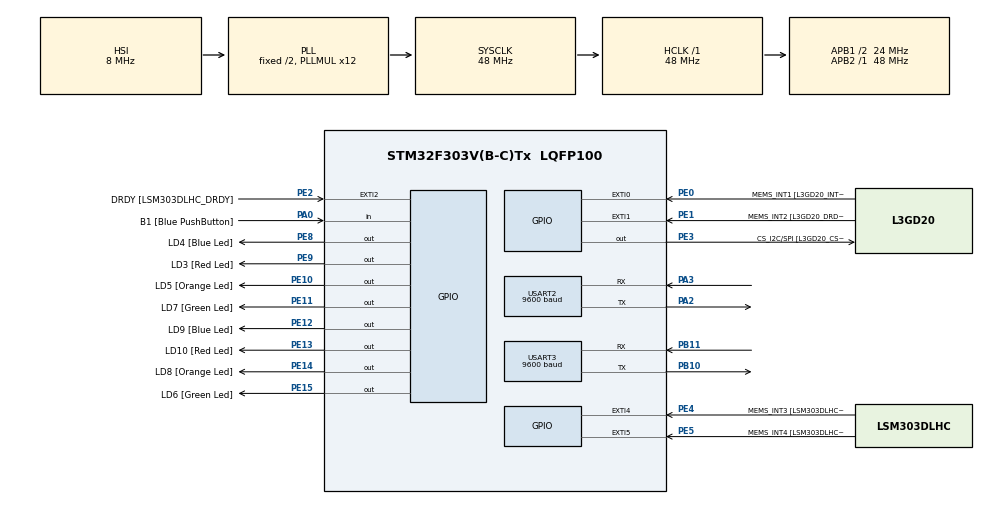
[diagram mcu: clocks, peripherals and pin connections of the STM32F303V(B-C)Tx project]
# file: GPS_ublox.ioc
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Mcu.Family=STM32F3
Mcu.Name=STM32F303V(B-C)Tx
Mcu.Package=LQFP100
NVIC.PriorityGroup=NVIC_PRIORITYGROUP_4
NVIC.TIM6_DAC_IRQn=true\:15\:0\:false\:false\:true\:false\:true\:true
NVIC.TimeBase=TIM6_DAC_IRQn
NVIC.TimeBaseIP=TIM6
NVIC.USART2_IRQn=true\:5\:0\:true\:false\:true\:true\:true\:true
NVIC.USART3_IRQn=true\:5\:0\:true\:false\:true\:true\:true\:true
PA0.GPIO_Label=B1 [Blue PushButton]
PA0.GPIO_Mode=GPIO_MODE_INPUT
PA0.GPIO_PuPd=GPIO_NOPULL
PA0.Signal=GPIO_Input
PA11.GPIO_Label=DM
PA11.Signal=USB_DM
PA12.GPIO_Label=DP
PA12.Signal=USB_DP
PA13.GPIO_Label=SWDIO
PA13.Signal=SYS_JTMS-SWDIO
PA14.GPIO_Label=SWCLK
PA14.Signal=SYS_JTCK-SWCLK
PA2.Mode=Asynchronous
PA2.Signal=USART2_TX
PA3.Mode=Asynchronous
PA3.Signal=USART2_RX
PA5.GPIO_Label=SPI1_SCK [L3GD20_SCL/SPC]
PA5.GPIO_Mode=GPIO_MODE_AF_PP
PA5.GPIO_PuPd=GPIO_NOPULL
PA5.GPIO_Speed=GPIO_SPEED_FREQ_LOW
PA5.Signal=SPI1_SCK
PA6.GPIO_Label=SPI1_MISO [L3GD20_SA0/SDO]
PA6.GPIO_Mode=GPIO_MODE_AF_PP
PA6.GPIO_PuPd=GPIO_NOPULL
PA6.GPIO_Speed=GPIO_SPEED_FREQ_LOW
PA6.Signal=SPI1_MISO
PA7.GPIO_Label=SPI1_MISO [L3GD20_SDA/SDI/SDO]
PA7.GPIO_Mode=GPIO_MODE_AF_PP
PA7.GPIO_PuPd=GPIO_NOPULL
PA7.GPIO_Speed=GPIO_SPEED_FREQ_LOW
PA7.Signal=SPI1_MOSI
PB10.Mode=Asynchronous
PB10.Signal=USART3_TX
PB11.Mode=Asynchronous
PB11.Signal=USART3_RX
PB3.GPIO_Label=SWO
PB3.Signal=SYS_JTDO-TRACESWO
PB6.GPIO_FM6=__NULL
PB6.GPIO_Label=I2C1_SCL [LSM303DLHC_SCL]
PB6.GPIO_Mode=GPIO_MODE_AF_OD
PB6.GPIO_PuPd=GPIO_NOPULL
PB6.GPIO_Speed=GPIO_SPEED_FREQ_LOW
PB6.Signal=I2C1_SCL
PB7.GPIO_FM7=__NULL
PB7.GPIO_Label=I2C1_SDA [LSM303DLHC_SDA]
PB7.GPIO_Mode=GPIO_MODE_AF_OD
PB7.GPIO_PuPd=GPIO_NOPULL
PB7.GPIO_Speed=GPIO_SPEED_FREQ_LOW
PB7.Signal=I2C1_SDA
PC14-OSC32_IN.GPIO_Label=OSC32_IN
PC14-OSC32_IN.Signal=RCC_OSC32_IN
PC15-OSC32_OUT.GPIO_Label=OSC32_OUT
PC15-OSC32_OUT.Signal=RCC_OSC32_OUT
PE0.GPIO_Label=MEMS_INT1 [L3GD20_INT1]
PE0.GPIO_ModeDefaultEXTI=GPIO_MODE_EVT_RISING
PE0.GPIO_PuPd=GPIO_NOPULL
PE0.Signal=GPXTI0
PE1.GPIO_Label=MEMS_INT2 [L3GD20_DRDY/INT2]
PE1.GPIO_ModeDefaultEXTI=GPIO_MODE_EVT_RISING
PE1.GPIO_PuPd=GPIO_NOPULL
PE1.Signal=GPXTI1
PE10.GPIO_Label=LD5 [Orange Led]
PE10.GPIO_ModeDefaultOutputPP=GPIO_MODE_OUTPUT_PP
PE10.GPIO_PuPd=GPIO_NOPULL
PE10.GPIO_Speed=GPIO_SPEED_FREQ_LOW
PE10.Signal=GPIO_Output
PE11.GPIO_Label=LD7 [Green Led]
PE11.GPIO_ModeDefaultOutputPP=GPIO_MODE_OUTPUT_PP
PE11.GPIO_PuPd=GPIO_NOPULL
PE11.GPIO_Speed=GPIO_SPEED_FREQ_LOW
PE11.Signal=GPIO_Output
PE12.GPIO_Label=LD9 [Blue Led]
PE12.GPIO_ModeDefaultOutputPP=GPIO_MODE_OUTPUT_PP
PE12.GPIO_PuPd=GPIO_NOPULL
PE12.GPIO_Speed=GPIO_SPEED_FREQ_LOW
PE12.Signal=GPIO_Output
PE13.GPIO_Label=LD10 [Red Led]
PE13.GPIO_ModeDefaultOutputPP=GPIO_MODE_OUTPUT_PP
PE13.GPIO_PuPd=GPIO_NOPULL
PE13.GPIO_Speed=GPIO_SPEED_FREQ_LOW
PE13.Signal=GPIO_Output
PE14.GPIO_Label=LD8 [Orange Led]
PE14.GPIO_ModeDefaultOutputPP=GPIO_MODE_OUTPUT_PP
PE14.GPIO_PuPd=GPIO_NOPULL
PE14.GPIO_Speed=GPIO_SPEED_FREQ_LOW
PE14.Signal=GPIO_Output
PE15.GPIO_Label=LD6 [Green Led]
PE15.GPIO_ModeDefaultOutputPP=GPIO_MODE_OUTPUT_PP
PE15.GPIO_PuPd=GPIO_NOPULL
PE15.GPIO_Speed=GPIO_SPEED_FREQ_LOW
PE15.Signal=GPIO_Output
PE2.GPIO_Label=DRDY [LSM303DLHC_DRDY]
PE2.GPIO_ModeDefaultEXTI=GPIO_MODE_EVT_RISING
PE2.GPIO_PuPd=GPIO_NOPULL
PE2.Signal=GPXTI2
PE3.GPIO_Label=CS_I2C/SPI [L3GD20_CS_I2C/SPI]
PE3.GPIO_ModeDefaultOutputPP=GPIO_MODE_OUTPUT_PP
PE3.GPIO_PuPd=GPIO_NOPULL
PE3.GPIO_Speed=GPIO_SPEED_FREQ_LOW
PE3.Signal=GPIO_Output
PE4.GPIO_Label=MEMS_INT3 [LSM303DLHC_INT1]
PE4.GPIO_ModeDefaultEXTI=GPIO_MODE_EVT_RISING
PE4.GPIO_PuPd=GPIO_NOPULL
PE4.Signal=GPXTI4
PE5.GPIO_Label=MEMS_INT4 [LSM303DLHC_INT2]
PE5.GPIO_ModeDefaultEXTI=GPIO_MODE_EVT_RISING
PE5.GPIO_PuPd=GPIO_NOPULL
PE5.Signal=GPXTI5
PE8.GPIO_Label=LD4 [Blue Led]
PE8.GPIO_ModeDefaultOutputPP=GPIO_MODE_OUTPUT_PP
PE8.GPIO_PuPd=GPIO_NOPULL
PE8.GPIO_Speed=GPIO_SPEED_FREQ_LOW
PE8.Signal=GPIO_Output
PE9.GPIO_Label=LD3 [Red Led]
PE9.GPIO_ModeDefaultOutputPP=GPIO_MODE_OUTPUT_PP
PE9.GPIO_PuPd=GPIO_NOPULL
PE9.GPIO_Speed=GPIO_SPEED_FREQ_LOW
PE9.Signal=GPIO_Output
PF0-OSC_IN.GPIO_Label=OSC_IN
PF0-OSC_IN.Signal=RCC_OSC_IN
PF1-OSC_OUT.GPIO_Label=OSC_OUT
PF1-OSC_OUT.Signal=RCC_OSC_OUT
ProjectManager.HeapSize=0x200
ProjectManager.StackSize=0x400
ProjectManager.TargetToolchain=STM32CubeIDE
RCC.AHBFreq_Value=48000000
RCC.APB1CLKDivider=RCC_HCLK_DIV2
RCC.APB1Freq_Value=24000000
RCC.APB1TimFreq_Value=48000000
RCC.APB2Freq_Value=48000000
RCC.APB2TimFreq_Value=48000000
RCC.CortexFreq_Value=48000000
RCC.HCLKFreq_Value=48000000
RCC.HSE_VALUE=8000000
RCC.HSI_VALUE=8000000
RCC.LSE_VALUE=32768
RCC.PLLMUL=RCC_PLL_MUL12
RCC.SYSCLKFreq_VALUE=48000000
RCC.SYSCLKSourceVirtual=RCC_SYSCLKSOURCE_PLLCLK
RCC.USBFreq_Value=48000000
USART2.BaudRate=9600
USART2.VirtualMode-Asynchronous=VM_ASYNC
USART3.BaudRate=9600
USART3.VirtualMode-Asynchronous=VM_ASYNC
VP_SYS_VS_tim6.Mode=TIM6
board=STM32F3DISCOVERY

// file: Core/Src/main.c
/* USER CODE BEGIN Header */
/**
  ******************************************************************************
  * @file           : main.c
  * @brief          : Main program body
  ******************************************************************************
  * @attention
  *
  * Copyright (c) 2023 STMicroelectronics.
  * All rights reserved.
  *
  * This software is licensed under terms that can be found in the LICENSE file
  * in the root directory of this software component.
  * If no LICENSE file comes with this software, it is provided AS-IS.
  *
  ******************************************************************************
  */
/* USER CODE END Header */
#include "main.h"

/* USER CODE BEGIN Includes */
#include"FreeRTOS.h"
#include "task.h"
#include "my_GPS.h"
#include "semphr.h"
#include "stdio.h"
/* USER CODE END Includes */

/* USER CODE BEGIN PD */

/*
 * UART2 is used for GPS module
 * 	PA2 - TX
 * 	PA3 - RX
 * UART3 is used for user
 *  PB10 - TX
 *  PB11 - RX
 *
 */
/*
 * DEFINE IF YOU WANT TO BRIDGE THESE TWO UARTS -- MOSTLY USED DURING CONFIGURATION GPS RECEIVER
 */
//#define UART23_bridge
/*
 * DEFINE YOUR TIMEZONE HERE, IF NOT IT WILL PRINT UTC TIME
 */
#define TIME_ZONE 1
#define USE_SEGGER

#ifdef USE_SEGGER
	#define DWT_CTRL		(*(volatile uint32_t *) 0xE0001000)
#endif

/* USER CODE END PD */

UART_HandleTypeDef huart2;
UART_HandleTypeDef huart3;

/* USER CODE BEGIN PV */
TaskHandle_t MSG_check_task;
TaskHandle_t UART3_task;

uint8_t UART_2_buffor [10];
uint8_t UART_3_buffor [10];

uint8_t rec_buff[500];

volatile GPS_Position_Data_t position;

xSemaphoreHandle xUART_3;
xSemaphoreHandle xUART_2;

char send_text [200];

/* USER CODE END PV */

void SystemClock_Config(void);
static void MX_GPIO_Init(void);
static void MX_USART2_UART_Init(void);
static void MX_USART3_UART_Init(void);
/* USER CODE BEGIN PFP */
void printmsg(char *msg);

void MSG_check_handler(void * pvParameters);
void UART_3_handler(void * pvParameters);

/* USER CODE END PFP */

int main(void)
{
  /* USER CODE BEGIN 1 */
	BaseType_t Status;
  /* USER CODE END 1 */

  /* MCU Configuration--------------------------------------------------------*/

  /* Reset of all peripherals, Initializes the Flash interface and the Systick. */
  HAL_Init();

  /* USER CODE BEGIN Init */

#if defined(USE_SEGGER)
		  DWT_CTRL |= (1 << 0);

		  SEGGER_SYSVIEW_Conf();

		  SEGGER_SYSVIEW_Start();
#endif

  Status = xTaskCreate(MSG_check_handler , "MSG_check_task" , 200, "MSG checking", 1, &MSG_check_task);
  configASSERT(Status == pdPASS);

  Status = xTaskCreate(UART_3_handler , "UART3_task" , 200, "UART3 task running", 1, &UART3_task);
  configASSERT(Status == pdPASS);

  xUART_3 = xSemaphoreCreateMutex();
  xUART_2 = xSemaphoreCreateMutex();

  /* USER CODE END Init */

  /* Configure the system clock */
  SystemClock_Config();

  /* Initialize all configured peripherals */
  MX_GPIO_Init();
  MX_USART2_UART_Init();
  MX_USART3_UART_Init();
  /* USER CODE BEGIN 2 */

  sprintf(send_text, "\n###############################\n#                             #\n"\
		  "#      Program is running     #\n#   Waiting for GSP data...   #\n"\
		  "#                             #\n###############################\n\n");

  //send welcome text
  printmsg(send_text);

  HAL_UART_Receive_IT(&huart2, UART_2_buffor, 1);
  HAL_UART_Receive_IT(&huart3, UART_3_buffor, 1);

  vTaskStartScheduler();

  /* USER CODE END 2 */

  /* Infinite loop */
  while (1)
  {

  }
}

void SystemClock_Config(void)
{
  RCC_OscInitTypeDef RCC_OscInitStruct = {0};
  RCC_ClkInitTypeDef RCC_ClkInitStruct = {0};
  RCC_PeriphCLKInitTypeDef PeriphClkInit = {0};

  /** Initializes the RCC Oscillators according to the specified parameters
  * in the RCC_OscInitTypeDef structure.
  */
  RCC_OscInitStruct.OscillatorType = RCC_OSCILLATORTYPE_HSI;
  RCC_OscInitStruct.HSIState = RCC_HSI_ON;
  RCC_OscInitStruct.HSICalibrationValue = RCC_HSICALIBRATION_DEFAULT;
  RCC_OscInitStruct.PLL.PLLState = RCC_PLL_ON;
  RCC_OscInitStruct.PLL.PLLSource = RCC_PLLSOURCE_HSI;
  RCC_OscInitStruct.PLL.PLLMUL = RCC_PLL_MUL12;
  if (HAL_RCC_OscConfig(&RCC_OscInitStruct) != HAL_OK)
  {
    Error_Handler();
  }

  /** Initializes the CPU, AHB and APB buses clocks
  */
  RCC_ClkInitStruct.ClockType = RCC_CLOCKTYPE_HCLK|RCC_CLOCKTYPE_SYSCLK
                              |RCC_CLOCKTYPE_PCLK1|RCC_CLOCKTYPE_PCLK2;
  RCC_ClkInitStruct.SYSCLKSource = RCC_SYSCLKSOURCE_PLLCLK;
  RCC_ClkInitStruct.AHBCLKDivider = RCC_SYSCLK_DIV1;
  RCC_ClkInitStruct.APB1CLKDivider = RCC_HCLK_DIV2;
  RCC_ClkInitStruct.APB2CLKDivider = RCC_HCLK_DIV1;

  if (HAL_RCC_ClockConfig(&RCC_ClkInitStruct, FLASH_LATENCY_1) != HAL_OK)
  {
    Error_Handler();
  }
  PeriphClkInit.PeriphClockSelection = RCC_PERIPHCLK_USART2|RCC_PERIPHCLK_USART3;
  PeriphClkInit.Usart2ClockSelection = RCC_USART2CLKSOURCE_PCLK1;
  PeriphClkInit.Usart3ClockSelection = RCC_USART3CLKSOURCE_PCLK1;
  if (HAL_RCCEx_PeriphCLKConfig(&PeriphClkInit) != HAL_OK)
  {
    Error_Handler();
  }
}

static void MX_USART2_UART_Init(void)
{

  huart2.Instance = USART2;
  huart2.Init.BaudRate = 9600;
  huart2.Init.WordLength = UART_WORDLENGTH_8B;
  huart2.Init.StopBits = UART_STOPBITS_1;
  huart2.Init.Parity = UART_PARITY_NONE;
  huart2.Init.Mode = UART_MODE_TX_RX;
  huart2.Init.HwFlowCtl = UART_HWCONTROL_NONE;
  huart2.Init.OverSampling = UART_OVERSAMPLING_16;
  huart2.Init.OneBitSampling = UART_ONE_BIT_SAMPLE_DISABLE;
  huart2.AdvancedInit.AdvFeatureInit = UART_ADVFEATURE_NO_INIT;
  if (HAL_UART_Init(&huart2) != HAL_OK)
  {
    Error_Handler();
  }

}

static void MX_USART3_UART_Init(void)
{

  huart3.Instance = USART3;
  huart3.Init.BaudRate = 9600;
  huart3.Init.WordLength = UART_WORDLENGTH_8B;
  huart3.Init.StopBits = UART_STOPBITS_1;
  huart3.Init.Parity = UART_PARITY_NONE;
  huart3.Init.Mode = UART_MODE_TX_RX;
  huart3.Init.HwFlowCtl = UART_HWCONTROL_NONE;
  huart3.Init.OverSampling = UART_OVERSAMPLING_16;
  huart3.Init.OneBitSampling = UART_ONE_BIT_SAMPLE_DISABLE;
  huart3.AdvancedInit.AdvFeatureInit = UART_ADVFEATURE_NO_INIT;
  if (HAL_UART_Init(&huart3) != HAL_OK)
  {
    Error_Handler();
  }

}

static void MX_GPIO_Init(void)
{
  GPIO_InitTypeDef GPIO_InitStruct = {0};

  /* GPIO Ports Clock Enable */
  __HAL_RCC_GPIOE_CLK_ENABLE();
  __HAL_RCC_GPIOC_CLK_ENABLE();
  __HAL_RCC_GPIOF_CLK_ENABLE();
  __HAL_RCC_GPIOA_CLK_ENABLE();
  __HAL_RCC_GPIOB_CLK_ENABLE();

  /*Configure GPIO pin Output Level */
  HAL_GPIO_WritePin(GPIOE, CS_I2C_SPI_Pin|LD4_Pin|LD3_Pin|LD5_Pin
                          |LD7_Pin|LD9_Pin|LD10_Pin|LD8_Pin
                          |LD6_Pin, GPIO_PIN_RESET);

  /*Configure GPIO pins : DRDY_Pin MEMS_INT3_Pin MEMS_INT4_Pin MEMS_INT1_Pin
                           MEMS_INT2_Pin */
  GPIO_InitStruct.Pin = DRDY_Pin|MEMS_INT3_Pin|MEMS_INT4_Pin|MEMS_INT1_Pin
                          |MEMS_INT2_Pin;
  GPIO_InitStruct.Mode = GPIO_MODE_EVT_RISING;
  GPIO_InitStruct.Pull = GPIO_NOPULL;
  HAL_GPIO_Init(GPIOE, &GPIO_InitStruct);

  /*Configure GPIO pins : CS_I2C_SPI_Pin LD4_Pin LD3_Pin LD5_Pin
                           LD7_Pin LD9_Pin LD10_Pin LD8_Pin
                           LD6_Pin */
  GPIO_InitStruct.Pin = CS_I2C_SPI_Pin|LD4_Pin|LD3_Pin|LD5_Pin
                          |LD7_Pin|LD9_Pin|LD10_Pin|LD8_Pin
                          |LD6_Pin;
  GPIO_InitStruct.Mode = GPIO_MODE_OUTPUT_PP;
  GPIO_InitStruct.Pull = GPIO_NOPULL;
  GPIO_InitStruct.Speed = GPIO_SPEED_FREQ_LOW;
  HAL_GPIO_Init(GPIOE, &GPIO_InitStruct);

  /*Configure GPIO pin : B1_Pin */
  GPIO_InitStruct.Pin = B1_Pin;
  GPIO_InitStruct.Mode = GPIO_MODE_INPUT;
  GPIO_InitStruct.Pull = GPIO_NOPULL;
  HAL_GPIO_Init(B1_GPIO_Port, &GPIO_InitStruct);

  /*Configure GPIO pins : SPI1_SCK_Pin SPI1_MISO_Pin SPI1_MISOA7_Pin */
  GPIO_InitStruct.Pin = SPI1_SCK_Pin|SPI1_MISO_Pin|SPI1_MISOA7_Pin;
  GPIO_InitStruct.Mode = GPIO_MODE_AF_PP;
  GPIO_InitStruct.Pull = GPIO_NOPULL;
  GPIO_InitStruct.Speed = GPIO_SPEED_FREQ_LOW;
  GPIO_InitStruct.Alternate = GPIO_AF5_SPI1;
  HAL_GPIO_Init(GPIOA, &GPIO_InitStruct);

  /*Configure GPIO pins : DM_Pin DP_Pin */
  GPIO_InitStruct.Pin = DM_Pin|DP_Pin;
  GPIO_InitStruct.Mode = GPIO_MODE_AF_PP;
  GPIO_InitStruct.Pull = GPIO_NOPULL;
  GPIO_InitStruct.Speed = GPIO_SPEED_FREQ_HIGH;
  GPIO_InitStruct.Alternate = GPIO_AF14_USB;
  HAL_GPIO_Init(GPIOA, &GPIO_InitStruct);

  /*Configure GPIO pins : I2C1_SCL_Pin I2C1_SDA_Pin */
  GPIO_InitStruct.Pin = I2C1_SCL_Pin|I2C1_SDA_Pin;
  GPIO_InitStruct.Mode = GPIO_MODE_AF_OD;
  GPIO_InitStruct.Pull = GPIO_NOPULL;
  GPIO_InitStruct.Speed = GPIO_SPEED_FREQ_LOW;
  GPIO_InitStruct.Alternate = GPIO_AF4_I2C1;
  HAL_GPIO_Init(GPIOB, &GPIO_InitStruct);

}

/* USER CODE BEGIN 4 */

void printmsg(char *msg){

		xSemaphoreTake(xUART_3, portMAX_DELAY);

		while ( __HAL_UART_GET_FLAG(&huart3, UART_FLAG_TXE) != SET);

		HAL_UART_Transmit(&huart3, (uint8_t*)msg, strlen(msg), HAL_MAX_DELAY);

		while ( __HAL_UART_GET_FLAG(&huart3, UART_FLAG_TC) != SET);

		xSemaphoreGive(xUART_3);

}

void MSG_check_handler(void * pvParameters)
{
	uint8_t buffor_size = 0;
	while(1)
	{
		//wait for notify from UART receiver
		xTaskNotifyWait(0, 0, (uint32_t *)&buffor_size, portMAX_DELAY);

		//checks if pending message is position info
		position = GPS_get_position(rec_buff, buffor_size);
		if(position.Latitude_deg != 0)
		{
			xTaskNotify(UART3_task, (uint32_t)&position, eSetValueWithOverwrite);
		}
		//flush the buffor
		for(int i = 0; i < 100; i++)
		{
			rec_buff[i] = '\0';
		}
	}
}

void UART_3_handler(void * pvParameters)
{
	GPS_Position_Data_t * position_addr = 0;
	uint32_t rec_addr = 0;
	  // turn ON working LED and send hello text
	  HAL_GPIO_WritePin(GPIOE, GPIO_PIN_8, ENABLE);

	  char msg [300];

	while(1)
	{
		if(xTaskNotifyWait(0, 0, (uint32_t*)&rec_addr, portMAX_DELAY) == pdPASS)
		{
			position_addr = (GPS_Position_Data_t *)rec_addr;

			sprintf(msg,"Position: %d.%ld %d.%ld", position_addr->Latitude_deg, position_addr->Latitude_minINdegrees, \
					position_addr->Longtitude_deg, position_addr->Longtitude_minINdegrees);
			printmsg(msg);

			#if defined(TIME_ZONE)
				sprintf(msg," TIME: %02d:%02d:%02d\n", (position_addr->Time.hours + TIME_ZONE), position_addr->Time.minutes, position_addr->Time.seconds);
			#else
				sprintf(msg," TIME UTC: %02d:%02d:%02d\n", (position_addr->Time.hours), position_addr->Time.minutes, position_addr->Time.seconds);
			#endif
				printmsg(msg);
			HAL_GPIO_TogglePin(GPIOE, GPIO_PIN_9);
		}
	}
}

void HAL_UART_RxCpltCallback(UART_HandleTypeDef *huart)
{
	static uint8_t rec_status = 0;

	if(huart == &huart3)
	{

		HAL_GPIO_TogglePin(GPIOE, GPIO_PIN_14);

#if defined(UART23_bridge)
		if(xSemaphoreTakeFromISR(xUART_2, 0) == pdPASS)
		{
			//SEND FROM UART2 => UART3
			HAL_UART_Transmit(&huart2, UART_3_buffor, 1, 0); // 0 delay - very important!!
			xSemaphoreGiveFromISR(xUART_2, 0);
		}
#endif
		HAL_UART_Receive_IT(&huart3, UART_3_buffor, 1);

	}
	if(huart == &huart2)
	{
		HAL_GPIO_TogglePin(GPIOE, GPIO_PIN_13);

#if defined(UART23_bridge)
		if(xSemaphoreTakeFromISR(xUART_3, 0) == pdPASS){
			//SEND FROM UART2 => UART3
			HAL_UART_Transmit(&huart3, UART_2_buffor, 1, 0); // 0 delay - very important!!
			xSemaphoreGiveFromISR(xUART_3, 0);
		}
#endif
		//if message will be analyzed
		if(rec_status)
		{
			rec_buff[rec_status-1] = UART_2_buffor[0];
			if(rec_buff[rec_status-1] == '\n')
			{
				//notify the MSG checking task
				xTaskNotifyFromISR(MSG_check_task, (rec_status-1), eSetValueWithOverwrite, 0);
				rec_status = 0;
			}else{
				rec_status++;
			}

		}
		//Start of the phrase, start recording
		if(UART_2_buffor[0] == '$'){
			rec_status = 1;
		}

		HAL_UART_Receive_IT(&huart2, UART_2_buffor, 1);

	}

}

/* USER CODE END 4 */

void Error_Handler(void)
{
  __disable_irq();
  while (1)
  {
  }
}
